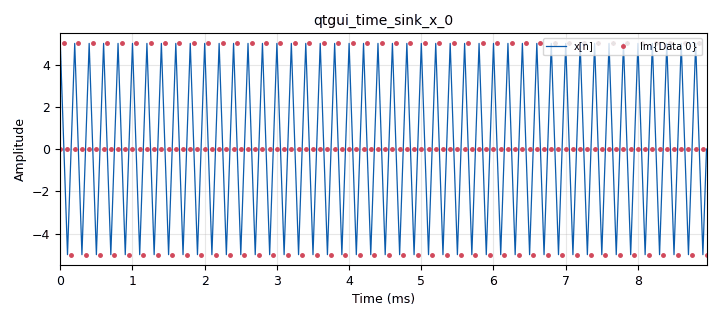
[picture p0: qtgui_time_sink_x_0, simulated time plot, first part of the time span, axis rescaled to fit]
options:
  parameters:
    generate_options: qt_gui
    id: Ejercicio_3
    output_language: python
    title: Not titled yet
  states: {}

blocks:
- name: samp_rate
  id: variable
  parameters:
    value: '32000'
  states: {}
- name: variable_qtgui_range_0
  id: variable_qtgui_range
  parameters:
    label: Frecuencia de muestreo
    start: '1000'
    step: '1000'
    stop: '50000'
    value: '20000'
    widget: slider
  states: {}
- name: analog_sig_source_x_0
  id: analog_sig_source_x
  parameters:
    amp: '5'
    freq: '5000'
    offset: '0'
    phase: '0'
    samp_rate: '20000'
    type: complex
    waveform: analog.GR_COS_WAVE
  states: {}
- name: blocks_throttle2_0
  id: blocks_throttle2
  parameters:
    samples_per_second: '20000'
    type: complex
  states: {}
- name: qtgui_time_sink_x_0
  id: qtgui_time_sink_x
  parameters:
    label1: x[n]
    size: '2048'
    srate: '20000'
    style2: '0'
    type: complex
  states: {}

connections:
- [analog_sig_source_x_0, '0', blocks_throttle2_0, '0']
- [blocks_throttle2_0, '0', qtgui_time_sink_x_0, '0']

metadata:
  file_format: 1
  grc_version: 3.10.12.0
